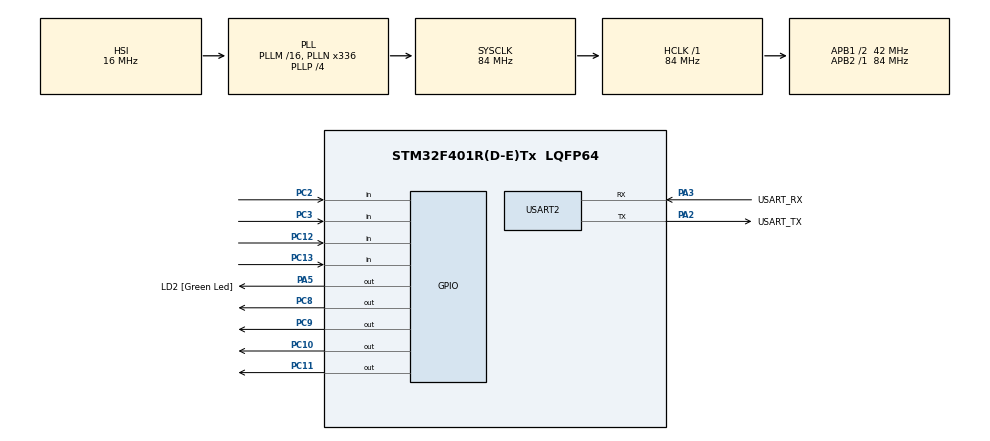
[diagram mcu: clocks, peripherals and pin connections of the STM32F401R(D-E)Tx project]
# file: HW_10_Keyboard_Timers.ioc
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Mcu.Family=STM32F4
Mcu.Name=STM32F401R(D-E)Tx
Mcu.Package=LQFP64
NVIC.PriorityGroup=NVIC_PRIORITYGROUP_0
NVIC.TIM2_IRQn=true\:0\:0\:false\:false\:true\:true\:true\:true
PA13.GPIO_Label=TMS
PA13.Mode=Serial_Wire
PA13.Signal=SYS_JTMS-SWDIO
PA14.GPIO_Label=TCK
PA14.Mode=Serial_Wire
PA14.Signal=SYS_JTCK-SWCLK
PA2.GPIO_Label=USART_TX
PA2.GPIO_Mode=GPIO_MODE_AF_PP
PA2.GPIO_PuPd=GPIO_NOPULL
PA2.GPIO_Speed=GPIO_SPEED_FREQ_LOW
PA2.Mode=Asynchronous
PA2.Signal=USART2_TX
PA3.GPIO_Label=USART_RX
PA3.GPIO_Mode=GPIO_MODE_AF_PP
PA3.GPIO_PuPd=GPIO_NOPULL
PA3.GPIO_Speed=GPIO_SPEED_FREQ_LOW
PA3.Mode=Asynchronous
PA3.Signal=USART2_RX
PA5.GPIO_Label=LD2 [Green Led]
PA5.GPIO_Mode=GPIO_MODE_OUTPUT_PP
PA5.GPIO_PuPd=GPIO_NOPULL
PA5.GPIO_Speed=GPIO_SPEED_FREQ_LOW
PA5.Signal=GPIO_Output
PB3.GPIO_Label=SWO
PB3.Signal=SYS_JTDO-SWO
PC10.Signal=GPIO_Output
PC11.Signal=GPIO_Output
PC12.Signal=GPIO_Input
PC13-ANTI_TAMP.Signal=GPIO_Input
PC14-OSC32_IN.Mode=LSE-External-Oscillator
PC14-OSC32_IN.Signal=RCC_OSC32_IN
PC15-OSC32_OUT.Mode=LSE-External-Oscillator
PC15-OSC32_OUT.Signal=RCC_OSC32_OUT
PC2.Signal=GPIO_Input
PC3.Signal=GPIO_Input
PC8.Signal=GPIO_Output
PC9.Signal=GPIO_Output
PH0\ -\ OSC_IN.Mode=HSE-External-Clock-Source
PH0\ -\ OSC_IN.Signal=RCC_OSC_IN
PH1\ -\ OSC_OUT.Mode=HSE-External-Clock-Source
PH1\ -\ OSC_OUT.Signal=RCC_OSC_OUT
ProjectManager.HeapSize=0x200
ProjectManager.StackSize=0x400
ProjectManager.TargetToolchain=STM32CubeIDE
RCC.48MHZClocksFreq_Value=48000000
RCC.AHBFreq_Value=84000000
RCC.APB1CLKDivider=RCC_HCLK_DIV2
RCC.APB1Freq_Value=42000000
RCC.APB1TimFreq_Value=84000000
RCC.APB2Freq_Value=84000000
RCC.APB2TimFreq_Value=84000000
RCC.CortexFreq_Value=84000000
RCC.HCLKFreq_Value=84000000
RCC.HSE_VALUE=8000000
RCC.HSI_VALUE=16000000
RCC.PLLN=336
RCC.PLLP=RCC_PLLP_DIV4
RCC.PLLQ=7
RCC.SYSCLKFreq_VALUE=84000000
RCC.SYSCLKSource=RCC_SYSCLKSOURCE_PLLCLK
RCC.VCOOutputFreq_Value=336000000
TIM2.Period=420000-1
TIM2.Prescaler=0
TIM5.Period=840000-1
TIM5.Prescaler=1000-1
USART2.VirtualMode=VM_ASYNC
VP_TIM2_VS_ClockSourceINT.Mode=Internal
VP_TIM5_VS_ClockSourceINT.Mode=Internal
board=NUCLEO-F401RE

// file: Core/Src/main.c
/* USER CODE BEGIN Header */
/**
 ******************************************************************************
 * @file           : main.c
 * @brief          : Main program body
 ******************************************************************************
 * @attention
 *
 * Copyright (c) 2022 STMicroelectronics.
 * All rights reserved.
 *
 * This software is licensed under terms that can be found in the LICENSE file
 * in the root directory of this software component.
 * If no LICENSE file comes with this software, it is provided AS-IS.
 *
 ******************************************************************************
 */
/* USER CODE END Header */
#include "main.h"

/* USER CODE BEGIN Includes */
#include <string.h>
#include <stdlib.h>
#include <stdio.h>
/* USER CODE END Includes */

TIM_HandleTypeDef htim2;
TIM_HandleTypeDef htim5;

UART_HandleTypeDef huart2;

void SystemClock_Config(void);
static void MX_GPIO_Init(void);
static void MX_USART2_UART_Init(void);
static void MX_TIM2_Init(void);
static void MX_TIM5_Init(void);

/* USER CODE BEGIN 0 */

int column_index = 0;
int column_flag = 1;

//keyboard mapping buttons to a character
char map[16] = "0123456789ABCDEF";

int keypress[16];
int ack[16];

void HAL_TIM_PeriodElapsedCallback(TIM_HandleTypeDef *htim) {
	column_flag = 1;
	// stops the timer and then reads the button presses
	HAL_TIM_Base_Stop_IT(&htim2);
}

int isAnyButtonPressed();

// returns true if any of the 16 buttons is pressed at a certain moment
int isAnyButtonPressed() {
	return !(HAL_GPIO_ReadPin(GPIOC, GPIO_PIN_12) && HAL_GPIO_ReadPin(GPIOC, GPIO_PIN_13) && HAL_GPIO_ReadPin(GPIOC, GPIO_PIN_2) && HAL_GPIO_ReadPin(GPIOC, GPIO_PIN_3));
}

/* USER CODE END 0 */

int main(void) {

	/* MCU Configuration--------------------------------------------------------*/

	/* Reset of all peripherals, Initializes the Flash interface and the Systick. */
	HAL_Init();

	/* Configure the system clock */
	SystemClock_Config();

	/* Initialize all configured peripherals */
	MX_GPIO_Init();
	MX_USART2_UART_Init();
	MX_TIM2_Init();
	MX_TIM5_Init();
	/* USER CODE BEGIN 2 */

	// allocates string to be printed in the emulated terminal
	char *string = (char*) malloc(4 * sizeof(char));
	strcpy(string, "X\r\n");

	float time_button_press = 1.0; // number of seconds necessary for printing a button press
	for (int i = 0; i < 16; i++) {
		ack[i] = 0;
	}
	/* USER CODE END 2 */

	/* Infinite loop */
	/* USER CODE BEGIN WHILE */
	while (1) {

		if (column_flag) {
			// activates the columns iteratively
			HAL_GPIO_WritePin(GPIOC, GPIO_PIN_10, column_index == 1);
			HAL_GPIO_WritePin(GPIOC, GPIO_PIN_9, column_index == 0);
			HAL_GPIO_WritePin(GPIOC, GPIO_PIN_8, column_index == 3);
			HAL_GPIO_WritePin(GPIOC, GPIO_PIN_11, column_index == 2);

			column_index = (column_index + 1) % 4; // iterates from 0 to 4 in loop
			column_flag = 0;
			HAL_TIM_Base_Start_IT(&htim2);
		}

		// reads every button press
		keypress[column_index + 12] = !HAL_GPIO_ReadPin(GPIOC, GPIO_PIN_3);
		keypress[column_index + 8] = !HAL_GPIO_ReadPin(GPIOC, GPIO_PIN_2);
		keypress[column_index + 4] = !HAL_GPIO_ReadPin(GPIOC, GPIO_PIN_13);
		keypress[column_index + 0] = !HAL_GPIO_ReadPin(GPIOC, GPIO_PIN_12);

		int timer_started = 0;
		float counter = 0.0;
		do {
			// iterates until the button is being pressed
			if (!timer_started && isAnyButtonPressed()) {
				HAL_TIM_Base_Start(&htim5);
				timer_started = 1;
			}
			counter = (float) __HAL_TIM_GetCounter(&htim5);
		} while (isAnyButtonPressed());
		// until button is being pressed or the button is being pressed for the defined amount of seconds
		// when the button is released, we count for how long it was pressed

		if (timer_started) {
			HAL_TIM_Base_Stop(&htim5);
			__HAL_TIM_SetCounter(&htim5, 0); // resets the counter after the timer is stopped
			//__HAL_TIM_CLEAR_FLAG(&htim5, TIM_FLAG_UPDATE);
		}

		if ((counter > 84000.0 * time_button_press - 1.0)) {
			// if a button was pressed for more than the defined threshold, it prints it in the terminal
			for (int i = 0; i < 16; i++) {

				if (keypress[i]) { // if the corresponding button was pressed
					// copies character corresponding to the pressed button in the string
					string[0] = map[i];
					// prints string containing the pressed character on terminal
					HAL_UART_Transmit(&huart2, (uint8_t*) string, sizeof(string), 10);

				}
			}
		}

		/* USER CODE END WHILE */

	}
}

void SystemClock_Config(void) {
	RCC_OscInitTypeDef RCC_OscInitStruct = { 0 };
	RCC_ClkInitTypeDef RCC_ClkInitStruct = { 0 };

	/** Configure the main internal regulator output voltage
	 */
	__HAL_RCC_PWR_CLK_ENABLE();
	__HAL_PWR_VOLTAGESCALING_CONFIG(PWR_REGULATOR_VOLTAGE_SCALE2);

	/** Initializes the RCC Oscillators according to the specified parameters
	 * in the RCC_OscInitTypeDef structure.
	 */
	RCC_OscInitStruct.OscillatorType = RCC_OSCILLATORTYPE_HSI;
	RCC_OscInitStruct.HSIState = RCC_HSI_ON;
	RCC_OscInitStruct.HSICalibrationValue = RCC_HSICALIBRATION_DEFAULT;
	RCC_OscInitStruct.PLL.PLLState = RCC_PLL_ON;
	RCC_OscInitStruct.PLL.PLLSource = RCC_PLLSOURCE_HSI;
	RCC_OscInitStruct.PLL.PLLM = 16;
	RCC_OscInitStruct.PLL.PLLN = 336;
	RCC_OscInitStruct.PLL.PLLP = RCC_PLLP_DIV4;
	RCC_OscInitStruct.PLL.PLLQ = 7;
	if (HAL_RCC_OscConfig(&RCC_OscInitStruct) != HAL_OK) {
		Error_Handler();
	}

	/** Initializes the CPU, AHB and APB buses clocks
	 */
	RCC_ClkInitStruct.ClockType = RCC_CLOCKTYPE_HCLK | RCC_CLOCKTYPE_SYSCLK | RCC_CLOCKTYPE_PCLK1 | RCC_CLOCKTYPE_PCLK2;
	RCC_ClkInitStruct.SYSCLKSource = RCC_SYSCLKSOURCE_PLLCLK;
	RCC_ClkInitStruct.AHBCLKDivider = RCC_SYSCLK_DIV1;
	RCC_ClkInitStruct.APB1CLKDivider = RCC_HCLK_DIV2;
	RCC_ClkInitStruct.APB2CLKDivider = RCC_HCLK_DIV1;

	if (HAL_RCC_ClockConfig(&RCC_ClkInitStruct, FLASH_LATENCY_2) != HAL_OK) {
		Error_Handler();
	}
}

static void MX_TIM2_Init(void) {

	TIM_ClockConfigTypeDef sClockSourceConfig = { 0 };
	TIM_MasterConfigTypeDef sMasterConfig = { 0 };

	htim2.Instance = TIM2;
	htim2.Init.Prescaler = 0;
	htim2.Init.CounterMode = TIM_COUNTERMODE_UP;
	htim2.Init.Period = 420000 - 1;
	htim2.Init.ClockDivision = TIM_CLOCKDIVISION_DIV1;
	htim2.Init.AutoReloadPreload = TIM_AUTORELOAD_PRELOAD_DISABLE;
	if (HAL_TIM_Base_Init(&htim2) != HAL_OK) {
		Error_Handler();
	}
	sClockSourceConfig.ClockSource = TIM_CLOCKSOURCE_INTERNAL;
	if (HAL_TIM_ConfigClockSource(&htim2, &sClockSourceConfig) != HAL_OK) {
		Error_Handler();
	}
	sMasterConfig.MasterOutputTrigger = TIM_TRGO_RESET;
	sMasterConfig.MasterSlaveMode = TIM_MASTERSLAVEMODE_DISABLE;
	if (HAL_TIMEx_MasterConfigSynchronization(&htim2, &sMasterConfig) != HAL_OK) {
		Error_Handler();
	}

}

static void MX_TIM5_Init(void) {

	TIM_ClockConfigTypeDef sClockSourceConfig = { 0 };
	TIM_MasterConfigTypeDef sMasterConfig = { 0 };

	htim5.Instance = TIM5;
	htim5.Init.Prescaler = 1000 - 1;
	htim5.Init.CounterMode = TIM_COUNTERMODE_UP;
	htim5.Init.Period = 840000 - 1;
	htim5.Init.ClockDivision = TIM_CLOCKDIVISION_DIV1;
	htim5.Init.AutoReloadPreload = TIM_AUTORELOAD_PRELOAD_DISABLE;
	if (HAL_TIM_Base_Init(&htim5) != HAL_OK) {
		Error_Handler();
	}
	sClockSourceConfig.ClockSource = TIM_CLOCKSOURCE_INTERNAL;
	if (HAL_TIM_ConfigClockSource(&htim5, &sClockSourceConfig) != HAL_OK) {
		Error_Handler();
	}
	sMasterConfig.MasterOutputTrigger = TIM_TRGO_RESET;
	sMasterConfig.MasterSlaveMode = TIM_MASTERSLAVEMODE_DISABLE;
	if (HAL_TIMEx_MasterConfigSynchronization(&htim5, &sMasterConfig) != HAL_OK) {
		Error_Handler();
	}

}

static void MX_USART2_UART_Init(void) {

	huart2.Instance = USART2;
	huart2.Init.BaudRate = 115200;
	huart2.Init.WordLength = UART_WORDLENGTH_8B;
	huart2.Init.StopBits = UART_STOPBITS_1;
	huart2.Init.Parity = UART_PARITY_NONE;
	huart2.Init.Mode = UART_MODE_TX_RX;
	huart2.Init.HwFlowCtl = UART_HWCONTROL_NONE;
	huart2.Init.OverSampling = UART_OVERSAMPLING_16;
	if (HAL_UART_Init(&huart2) != HAL_OK) {
		Error_Handler();
	}

}

static void MX_GPIO_Init(void) {
	GPIO_InitTypeDef GPIO_InitStruct = { 0 };

	/* GPIO Ports Clock Enable */
	__HAL_RCC_GPIOC_CLK_ENABLE();
	__HAL_RCC_GPIOH_CLK_ENABLE();
	__HAL_RCC_GPIOA_CLK_ENABLE();
	__HAL_RCC_GPIOB_CLK_ENABLE();

	/*Configure GPIO pin Output Level */
	HAL_GPIO_WritePin(LD2_GPIO_Port, LD2_Pin, GPIO_PIN_RESET);

	/*Configure GPIO pin Output Level */
	HAL_GPIO_WritePin(GPIOC, GPIO_PIN_8 | GPIO_PIN_9 | GPIO_PIN_10 | GPIO_PIN_11, GPIO_PIN_RESET);

	/*Configure GPIO pins : PC13 PC2 PC3 PC12 */
	GPIO_InitStruct.Pin = GPIO_PIN_13 | GPIO_PIN_2 | GPIO_PIN_3 | GPIO_PIN_12;
	GPIO_InitStruct.Mode = GPIO_MODE_INPUT;
	GPIO_InitStruct.Pull = GPIO_NOPULL;
	HAL_GPIO_Init(GPIOC, &GPIO_InitStruct);

	/*Configure GPIO pin : LD2_Pin */
	GPIO_InitStruct.Pin = LD2_Pin;
	GPIO_InitStruct.Mode = GPIO_MODE_OUTPUT_PP;
	GPIO_InitStruct.Pull = GPIO_NOPULL;
	GPIO_InitStruct.Speed = GPIO_SPEED_FREQ_LOW;
	HAL_GPIO_Init(LD2_GPIO_Port, &GPIO_InitStruct);

	/*Configure GPIO pins : PC8 PC9 PC10 PC11 */
	GPIO_InitStruct.Pin = GPIO_PIN_8 | GPIO_PIN_9 | GPIO_PIN_10 | GPIO_PIN_11;
	GPIO_InitStruct.Mode = GPIO_MODE_OUTPUT_PP;
	GPIO_InitStruct.Pull = GPIO_NOPULL;
	GPIO_InitStruct.Speed = GPIO_SPEED_FREQ_LOW;
	HAL_GPIO_Init(GPIOC, &GPIO_InitStruct);

}

void Error_Handler(void) {
	__disable_irq();
	while (1) {
	}
}
